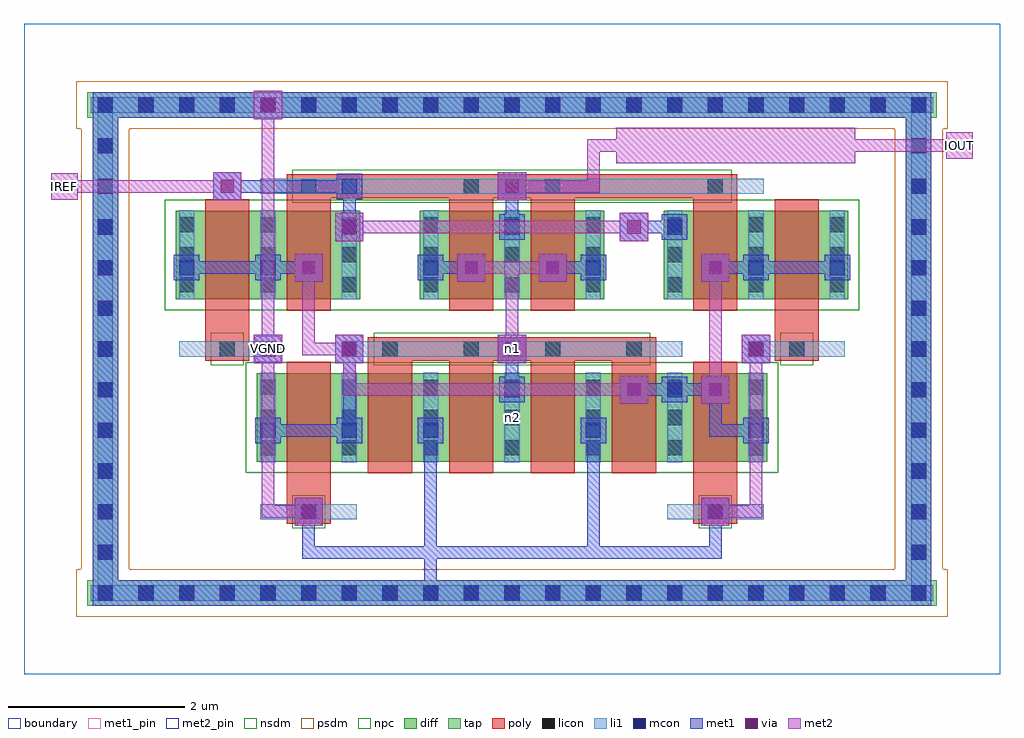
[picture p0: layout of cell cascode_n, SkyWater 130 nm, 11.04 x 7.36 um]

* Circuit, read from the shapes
.subckt cascode_n IOUT IREF VGND n1 n2
XM1 n1 VGND n1 VGND sky130_fd_pr__nfet_01v8 w=1 l=0.5 m=4
XM2 IREF IREF n1 VGND sky130_fd_pr__nfet_01v8 w=1 l=0.5 m=2
XM3 VGND n1 n1 VGND sky130_fd_pr__nfet_01v8 w=1 l=0.5 m=2
XM4 n2 n1 VGND VGND sky130_fd_pr__nfet_01v8 w=1 l=0.5 m=2
XM5 IOUT IREF n2 VGND sky130_fd_pr__nfet_01v8 w=1 l=0.5 m=2
.ends

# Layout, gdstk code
import gdstk
lib = gdstk.Library(unit=1e-6, precision=1e-09)
def R(c, l, rs):  # rectangles x0, y0, x1, y1
    for r in rs: c.add(gdstk.rectangle(r[:2], r[2:], *l))
def A(c, l, x, y, w, h, nx, ny, dx, dy):  # array of equal rectangles
    R(c, l, [(x+i*dx, y+j*dy, x+i*dx+w, y+j*dy+h) for i in range(nx) for j in range(ny)])
diff = (65, 20)
tap = (65, 44)
poly = (66, 20)
licon = (66, 44)
li1 = (67, 20)
mcon = (67, 44)
met1_pin = (68, 16)
met1 = (68, 20)
via = (68, 44)
met2_pin = (69, 16)
met2 = (69, 20)
nsdm = (93, 44)
psdm = (94, 20)
npc = (95, 20)
boundary = (235, 4)

cascode_n = lib.new_cell('cascode_n')
A(cascode_n, diff, 1.715, 4.245, 2.09, 1, 3, 1, 2.76, 0)
R(cascode_n, diff, [(2.635,2.405,8.405,3.405)])
R(cascode_n, tap, [(0.715,0.775,10.325,1.065), (0.775,0.775,1.065,6.585), (9.975,0.775,10.265,6.585), (0.715,6.295,10.325,6.585)])
A(cascode_n, poly, 3.89, 2.275, 0.5, 1.405, 4, 1, 0.92, 0)
R(cascode_n, poly, [(2.97,1.705,3.47,1.975), (7.57,1.705,8.07,1.975), (2.97,1.84,3.47,3.535), (7.57,1.84,8.07,3.535), (2.05,3.545,2.55,3.815), (3.89,3.545,7.15,3.815), (8.49,3.545,8.99,3.815), (2.05,3.68,2.55,5.375), (8.49,3.68,8.99,5.375), (2.97,4.115,3.47,5.52), (4.81,4.115,5.31,5.52), (5.73,4.115,6.23,5.52), (7.57,4.115,8.07,5.52), (2.97,5.385,8.07,5.655)])
A(cascode_n, licon, 0.835, 0.835, 0.17, 0.17, 21, 2, 0.46, 5.52)
A(cascode_n, licon, 0.835, 1.295, 0.17, 0.17, 1, 11, 0, 0.46)
A(cascode_n, licon, 10.035, 1.295, 0.17, 0.17, 1, 11, 0, 0.46)
A(cascode_n, licon, 2.675, 2.48, 0.17, 0.17, 7, 3, 0.92, 0.34)
A(cascode_n, licon, 4.055, 3.595, 0.17, 0.17, 4, 1, 0.92, 0)
A(cascode_n, licon, 1.755, 4.32, 0.17, 0.17, 9, 3, 0.92, 0.34)
R(cascode_n, licon, [(3.135,1.755,3.305,1.925), (7.735,1.755,7.905,1.925), (2.215,3.595,2.385,3.765), (8.655,3.595,8.825,3.765), (3.135,5.435,3.305,5.605), (4.975,5.435,5.145,5.605), (5.895,5.435,6.065,5.605), (7.735,5.435,7.905,5.605)])
A(cascode_n, li1, 2.675, 2.4, 0.17, 1.01, 7, 1, 0.92, 0)
A(cascode_n, li1, 1.755, 4.24, 0.17, 1.01, 9, 1, 0.92, 0)
R(cascode_n, li1, [(0.755,0.835,10.285,1.005), (0.835,0.835,1.005,6.525), (10.035,0.835,10.205,6.525), (2.675,1.755,3.765,1.925), (7.275,1.755,8.365,1.925), (1.755,3.595,2.845,3.765), (3.595,3.595,7.445,3.765), (8.195,3.595,9.285,3.765), (2.675,5.435,8.365,5.605), (0.755,6.355,10.285,6.525)])
A(cascode_n, mcon, 0.835, 0.835, 0.17, 0.17, 21, 2, 0.46, 5.52)
A(cascode_n, mcon, 0.835, 1.295, 0.17, 0.17, 1, 7, 0, 0.46)
A(cascode_n, mcon, 10.035, 1.295, 0.17, 0.17, 1, 3, 0, 0.46)
A(cascode_n, mcon, 2.675, 2.675, 0.17, 0.17, 3, 1, 0.92, 0)
A(cascode_n, mcon, 6.355, 2.675, 0.17, 0.17, 3, 1, 1.84, 0)
A(cascode_n, mcon, 10.035, 3.135, 0.17, 0.17, 1, 7, 0, 0.46)
A(cascode_n, mcon, 0.835, 4.515, 0.17, 0.17, 3, 1, 0.92, 0)
A(cascode_n, mcon, 4.515, 4.515, 0.17, 0.17, 3, 1, 1.84, 0)
A(cascode_n, mcon, 0.835, 4.975, 0.17, 0.17, 1, 3, 0, 0.46)
A(cascode_n, mcon, 3.595, 4.975, 0.17, 0.17, 3, 1, 1.84, 0)
R(cascode_n, mcon, [(3.135,1.755,3.305,1.925), (7.735,1.755,7.905,1.925), (5.435,3.135,5.605,3.305), (7.275,3.135,7.445,3.305), (2.675,3.595,2.845,3.765), (3.595,3.595,3.765,3.765), (8.195,3.595,8.365,3.765), (9.115,4.515,9.285,4.685), (3.595,5.435,3.765,5.605)])
R(cascode_n, met1_pin, [(2.615,3.535,2.905,3.825)])
A(cascode_n, met1, 7.66, 1.68, 0.32, 0.32, 1, 3, 0, 1.38)
A(cascode_n, met1, 2.615, 2.615, 0.29, 0.29, 3, 1, 0.92, 0)
A(cascode_n, met1, 2.615, 4.455, 0.29, 0.29, 4, 1, 1.84, 0)
A(cascode_n, met1, 3.535, 4.915, 0.29, 0.29, 3, 1, 1.84, 0)
R(cascode_n, met1, [(0.775,0.775,10.265,1.065), (0.775,0.775,1.065,6.585), (9.975,0.775,10.265,6.585), (4.53,0.85,4.67,0.99), (4.53,0.85,4.67,2.83), (3.15,1.31,4.67,1.45), (3.15,1.31,3.29,1.91), (4.53,1.31,6.51,1.45), (6.37,1.31,7.89,1.45), (6.37,1.31,6.51,2.83), (7.75,1.31,7.89,1.91), (3.06,1.68,3.38,2), (3.075,1.695,3.365,1.985), (7.675,1.695,7.965,1.985), (6.295,2.615,6.585,2.905), (8.135,2.615,8.425,2.905), (2.69,2.69,3.75,2.83), (3.61,2.69,3.75,3.75), (7.75,2.69,7.89,3.29), (7.75,2.69,8.35,2.83), (6.74,3.06,7.06,3.38), (5.375,3.075,5.665,3.365), (7.215,3.075,7.505,3.365), (5.45,3.15,5.59,3.75), (6.83,3.15,7.43,3.29), (7.29,3.15,7.89,3.29), (2.6,3.52,2.92,3.84), (3.52,3.52,3.84,3.84), (5.36,3.52,5.68,3.84), (8.12,3.52,8.44,3.84), (2.615,3.535,2.905,3.825), (3.535,3.535,3.825,3.825), (8.135,3.535,8.425,3.825), (3.06,4.44,3.38,4.76), (4.9,4.44,5.22,4.76), (5.82,4.44,6.14,4.76), (1.695,4.455,1.985,4.745), (9.055,4.455,9.345,4.745), (1.77,4.53,2.83,4.67), (2.69,4.53,3.29,4.67), (4.53,4.53,5.13,4.67), (5.91,4.53,6.51,4.67), (7.75,4.53,8.35,4.67), (8.21,4.53,9.27,4.67), (3.52,4.9,3.84,5.22), (6.74,4.9,7.06,5.22), (3.61,4.99,3.75,5.59), (5.45,4.99,5.59,5.59), (6.83,4.99,7.43,5.13), (2.14,5.36,2.46,5.68), (5.36,5.36,5.68,5.68), (3.535,5.375,3.825,5.665), (2.23,5.45,3.75,5.59), (2.6,6.28,2.92,6.6), (0.775,6.295,10.265,6.585), (2.69,6.37,2.83,6.51)])
A(cascode_n, via, 7.745, 1.765, 0.15, 0.15, 1, 3, 0, 1.38)
R(cascode_n, via, [(3.145,1.765,3.295,1.915), (6.825,3.145,6.975,3.295), (2.685,3.605,2.835,3.755), (3.605,3.605,3.755,3.755), (5.445,3.605,5.595,3.755), (8.205,3.605,8.355,3.755), (3.145,4.525,3.295,4.675), (4.985,4.525,5.135,4.675), (5.905,4.525,6.055,4.675), (3.605,4.985,3.755,5.135), (6.825,4.985,6.975,5.135), (2.225,5.445,2.375,5.595), (5.445,5.445,5.595,5.595), (2.685,6.365,2.835,6.515)])
R(cascode_n, met2_pin, [(0.31,5.37,0.61,5.67), (10.43,5.83,10.73,6.13)])
A(cascode_n, met2, 7.66, 1.68, 0.32, 0.32, 1, 3, 0, 1.38)
R(cascode_n, met2, [(3.06,1.68,3.38,2), (2.69,1.77,3.29,1.91), (2.69,1.77,2.83,3.75), (7.75,1.77,8.35,1.91), (8.21,1.77,8.35,3.75), (6.74,3.06,7.06,3.38), (3.61,3.15,3.75,3.75), (3.61,3.15,6.97,3.29), (7.75,3.15,7.89,4.67), (2.6,3.52,2.92,3.84), (3.52,3.52,3.84,3.84), (5.36,3.52,5.68,3.84), (8.12,3.52,8.44,3.84), (2.69,3.61,2.83,6.51), (3.15,3.61,3.75,3.75), (3.15,3.61,3.29,4.67), (5.45,3.61,5.59,4.67), (3.06,4.44,3.38,4.76), (4.9,4.44,5.22,4.76), (5.82,4.44,6.14,4.76), (4.99,4.53,5.59,4.67), (5.45,4.53,6.05,4.67), (3.52,4.9,3.84,5.22), (6.74,4.9,7.06,5.22), (3.61,4.99,6.97,5.13), (2.14,5.36,2.46,5.68), (5.36,5.36,5.68,5.68), (0.31,5.37,0.61,5.67), (0.39,5.45,0.53,5.59), (0.39,5.45,2.37,5.59), (5.45,5.45,6.51,5.59), (6.37,5.45,6.51,6.05), (6.7,5.78,9.4,6.18), (10.43,5.83,10.73,6.13), (6.37,5.91,6.97,6.05), (9.13,5.91,10.65,6.05), (10.51,5.91,10.65,6.05), (2.6,6.28,2.92,6.6)])
R(cascode_n, nsdm, [(2.51,2.28,8.53,3.53), (1.59,4.12,9.45,5.37)])
R(cascode_n, psdm, [(0.59,0.65,10.45,1.19), (0.65,1.19,1.19,6.17), (9.85,1.19,10.39,6.17), (0.59,6.17,10.45,6.71)])
R(cascode_n, npc, [(3.035,1.655,3.405,2.025), (7.635,1.655,8.005,2.025), (2.115,3.495,2.485,3.865), (3.955,3.495,7.085,3.865), (8.555,3.495,8.925,3.865), (3.035,5.335,8.005,5.705)])
R(cascode_n, boundary, [(0,0,11.04,7.36)])
cascode_n.add(gdstk.Label('n1', (5.52,3.68), layer=67, texttype=5))
cascode_n.add(gdstk.Label('n2', (5.52,2.905), layer=67, texttype=5))
cascode_n.add(gdstk.Label('VGND', (2.76,3.68), layer=68, texttype=5))
cascode_n.add(gdstk.Label('IREF', (0.46,5.52), layer=69, texttype=5))
cascode_n.add(gdstk.Label('IOUT', (10.58,5.98), layer=69, texttype=5))
cascode_n.add(gdstk.Label('VGND', (2.76,3.68), layer=68, texttype=16))
cascode_n.add(gdstk.Label('IREF', (0.46,5.52), layer=69, texttype=16))
cascode_n.add(gdstk.Label('IOUT', (10.58,5.98), layer=69, texttype=16))

lib.write_gds('cascode_n.gds')
